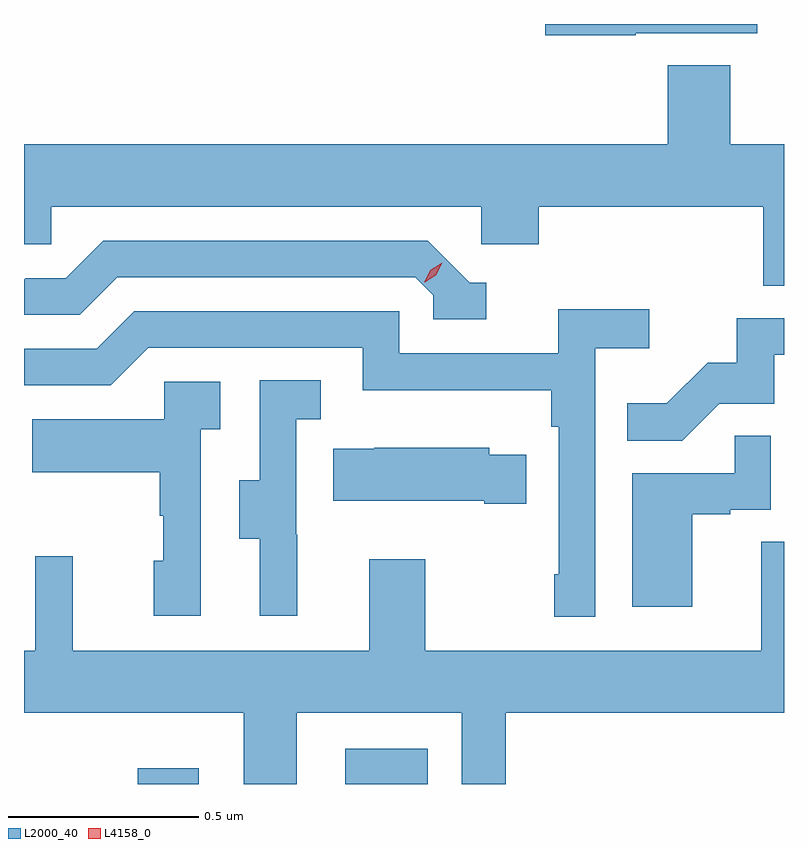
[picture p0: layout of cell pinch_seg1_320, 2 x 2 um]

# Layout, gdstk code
import gdstk
lib = gdstk.Library(unit=1e-6, precision=1e-09)
def R(c, l, rs):  # rectangles x0, y0, x1, y1
    for r in rs: c.add(gdstk.rectangle(r[:2], r[2:], *l))
def P(c, l, *ps):  # polygons
    for p in ps: c.add(gdstk.Polygon(p, *l))
L2000_40 = (2000, 40)
L4158_0 = (4158, 0)

pinch_seg1_320 = lib.new_cell('pinch_seg1_320')
R(pinch_seg1_320, L2000_40, [(911.516,555.541,911.677,555.583), (912.063,555.541,912.28,555.634)])
P(pinch_seg1_320, L2000_40, [(912.827,557.517),(913.146,557.517),(913.146,557.541),(912.589,557.541),(912.589,557.512),(912.827,557.512)],
  [(913.217,557.224),(913.076,557.224),(913.076,557.432),(912.911,557.432),(912.911,557.224),(911.217,557.224),(911.217,556.962),(911.289,556.962),(911.289,557.06),(912.42,557.06),(912.42,556.962),(912.572,556.962),(912.572,557.06),(913.163,557.06),(913.163,556.852),(913.217,556.852)],
  [(912.433,556.86),(912.39,556.86),(912.279,556.971),(911.426,556.971),(911.327,556.872),(911.22,556.872),(911.22,556.869),(911.217,556.869),(911.217,556.776),(911.364,556.776),(911.463,556.875),(912.246,556.875),(912.294,556.827),(912.294,556.764),(912.433,556.764)],
  [(912.72,556.688),(912.862,556.688),(912.862,556.79),(912.623,556.79),(912.623,556.674),(912.204,556.674),(912.204,556.785),(911.507,556.785),(911.408,556.686),(911.217,556.686),(911.217,556.59),(911.445,556.59),(911.544,556.689),(912.108,556.689),(912.108,556.577),(912.604,556.577),(912.604,556.481),(912.624,556.481),(912.624,556.093),(912.612,556.093),(912.612,555.981),(912.72,555.981)],
  [(913.047,556.542),(913.191,556.542),(913.191,556.671),(913.217,556.671),(913.217,556.767),(913.093,556.767),(913.093,556.65),(913.016,556.65),(912.909,556.543),(912.805,556.543),(912.805,556.444),(912.949,556.444)],
  [(911.936,556.197),(911.934,556.197),(911.934,556.501),(911.998,556.501),(911.998,556.604),(911.838,556.604),(911.838,556.341),(911.783,556.341),(911.783,556.186),(911.837,556.186),(911.837,555.984),(911.936,555.984)],
  [(911.682,556.475),(911.734,556.475),(911.734,556.599),(911.586,556.599),(911.586,556.501),(911.239,556.501),(911.239,556.361),(911.574,556.361),(911.574,556.247),(911.584,556.247),(911.584,556.128),(911.558,556.128),(911.558,555.984),(911.682,555.984)],
  [(912.976,556.251),(913.076,556.251),(913.076,556.263),(913.182,556.263),(913.182,556.457),(913.087,556.457),(913.087,556.359),(912.818,556.359),(912.818,556.008),(912.976,556.008)],
  [(912.539,556.408),(912.441,556.408),(912.441,556.426),(912.139,556.426),(912.139,556.423),(912.031,556.423),(912.031,556.286),(912.428,556.286),(912.428,556.279),(912.539,556.279)],
  [(911.935,555.728),(912.369,555.728),(912.369,555.541),(912.485,555.541),(912.485,555.728),(913.217,555.728),(913.217,556.178),(913.157,556.178),(913.157,555.892),(912.273,555.892),(912.273,556.132),(912.125,556.132),(912.125,555.892),(911.345,555.892),(911.345,556.141),(911.247,556.141),(911.247,555.892),(911.217,555.892),(911.217,555.728),(911.795,555.728),(911.795,555.541),(911.935,555.541)])
P(pinch_seg1_320, L4158_0, [(912.27,556.861),(912.27,556.861),(912.286,556.893),(912.317,556.913),(912.317,556.913),(912.317,556.913),(912.301,556.88),(912.271,556.861)])

lib.write_gds('pinch_seg1_320.gds')
